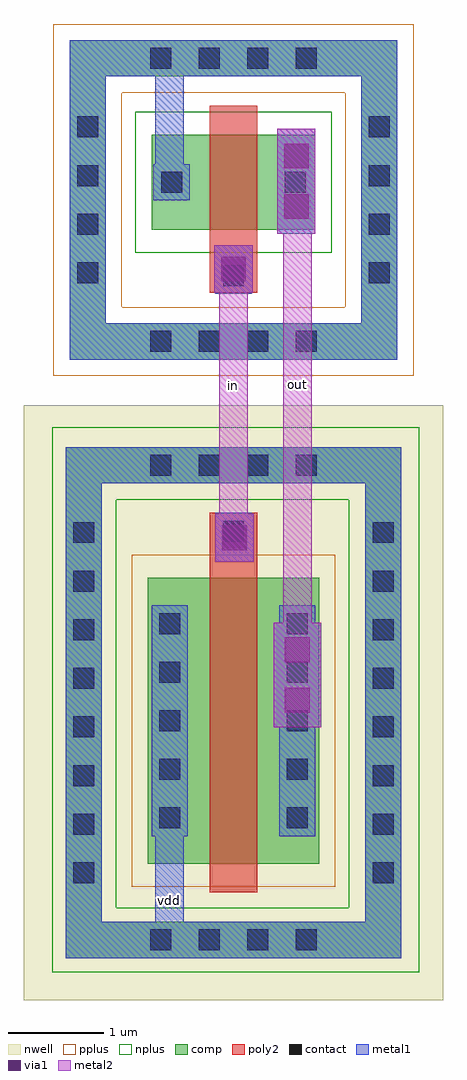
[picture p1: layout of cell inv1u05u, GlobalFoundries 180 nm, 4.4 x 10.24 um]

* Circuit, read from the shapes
.subckt inv1u05u in out vdd
XM1 out in VSUBS VSUBS nfet_03v3 w=1u l=0.5u
XM2 out in vdd vdd pfet_03v3 w=3u l=0.5u
.ends

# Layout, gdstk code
import gdstk
lib = gdstk.Library(unit=1e-6, precision=5e-09)
def R(c, l, rs):  # rectangles x0, y0, x1, y1
    for r in rs: c.add(gdstk.rectangle(r[:2], r[2:], *l))
def A(c, l, x, y, w, h, nx, ny, dx, dy):  # array of equal rectangles
    R(c, l, [(x+i*dx, y+j*dy, x+i*dx+w, y+j*dy+h) for i in range(nx) for j in range(ny)])
def P(c, l, *ps):  # polygons
    for p in ps: c.add(gdstk.Polygon(p, *l))
nwell = (21, 0)
comp = (22, 0)
poly2 = (30, 0)
pplus = (31, 0)
nplus = (32, 0)
contact = (33, 0)
metal1 = (34, 0)
via1 = (35, 0)
metal2 = (36, 0)

pfet_4 = lib.new_cell('pfet$4')
R(pfet_4, nwell, [(-1.76,-1.81,2.64,4.43)])
R(pfet_4, comp, [(-0.46,0,0,3), (0,0,0.88,3), (0.88,0,1.34,3)])
P(pfet_4, comp, [(-1.32,-1.37),(-1.32,3.61),(-0.94,3.61),(-0.94,-0.99),(1.82,-0.99),(1.82,3.61),(-1.32,3.61),(-1.32,3.99),(2.2,3.99),(2.2,-1.37)])
R(pfet_4, poly2, [(0.19,-0.68,0.69,-0.3), (0.19,-0.3,0.69,3.3)])
R(pfet_4, pplus, [(-0.63,-0.24,1.51,3.24)])
A(pfet_4, contact, -0.435, -1.29, 0.22, 0.22, 4, 2, 0.51, 4.98)
A(pfet_4, contact, -1.24, -0.585, 0.22, 0.22, 1, 8, 0, 0.51)
A(pfet_4, contact, 1.9, -0.585, 0.22, 0.22, 1, 8, 0, 0.51)
A(pfet_4, contact, -0.34, 0.37, 0.22, 0.22, 1, 5, 0, 0.51)
A(pfet_4, contact, 1, 0.37, 0.22, 0.22, 1, 5, 0, 0.51)
R(pfet_4, contact, [(0.33,-0.6,0.55,-0.38)])
R(pfet_4, metal1, [(0.25,-0.68,0.63,-0.3), (-0.42,0.29,-0.04,2.71), (0.92,0.29,1.3,2.71)])

via_dev_12 = lib.new_cell('via_dev$12')
R(via_dev_12, metal1, [(0,0,0.4,0.5)])
R(via_dev_12, via1, [(0.07,0.12,0.33,0.38)])
R(via_dev_12, metal2, [(0,0,0.4,0.5)])

via_dev_13 = lib.new_cell('via_dev$13')
R(via_dev_13, metal1, [(0,0,0.5,1.1)])
R(via_dev_13, via1, [(0.12,0.155,0.38,0.415), (0.12,0.685,0.38,0.945)])
R(via_dev_13, metal2, [(0,0,0.5,1.1)])

via_dev_14 = lib.new_cell('via_dev$14')
R(via_dev_14, metal1, [(0,0,0.4,1.1)])
R(via_dev_14, via1, [(0.07,0.155,0.33,0.415), (0.07,0.685,0.33,0.945)])
R(via_dev_14, metal2, [(0,0,0.4,1.1)])

nfet_4 = lib.new_cell('nfet$4')
R(nfet_4, comp, [(-0.42,0,0,1), (0,0,0.88,1), (0.88,0,1.3,1)])
P(nfet_4, comp, [(-1.28,-0.99),(-1.28,1.98),(-0.9,1.98),(-0.9,-0.61),(1.78,-0.61),(1.78,1.98),(-1.28,1.98),(-1.28,2.36),(2.16,2.36),(2.16,-0.99)])
R(nfet_4, poly2, [(0.19,-0.3,0.69,1.3), (0.19,1.3,0.69,1.66)])
P(nfet_4, pplus, [(-1.45,-1.16),(-1.45,1.81),(-0.73,1.81),(-0.73,-0.44),(1.61,-0.44),(1.61,1.81),(-1.45,1.81),(-1.45,2.53),(2.33,2.53),(2.33,-1.16)])
R(nfet_4, nplus, [(-0.59,-0.24,1.47,1.24)])
A(nfet_4, contact, -0.435, -0.91, 0.22, 0.22, 4, 2, 0.51, 2.97)
A(nfet_4, contact, -1.2, -0.19, 0.22, 0.22, 1, 4, 0, 0.51)
A(nfet_4, contact, 1.86, -0.19, 0.22, 0.22, 1, 4, 0, 0.51)
R(nfet_4, contact, [(-0.32,0.39,-0.1,0.61), (0.98,0.39,1.2,0.61), (0.33,1.37,0.55,1.59)])
R(nfet_4, metal1, [(-0.4,0.31,-0.02,0.69), (0.9,0.31,1.28,0.69), (0.25,1.29,0.63,1.67)])

inv1u05u = lib.new_cell('inv1u05u')
R(inv1u05u, nplus, [(-8.535,-1.095,-7.865,4.625), (-8.535,-1.095,-4.685,-0.415), (-5.425,-1.095,-4.685,4.625), (-8.535,3.865,-4.685,4.625)])
R(inv1u05u, metal1, [(-8.395,-0.945,-7.965,-0.565), (-7.965,-0.945,-5.255,-0.565), (-5.255,-0.945,-4.875,-0.565), (-5.255,-0.945,-4.875,4.415), (-8.395,-0.565,-8.015,4.035), (-8.395,4.035,-4.875,4.415), (-8.355,5.335,-4.915,5.715), (-8.355,5.715,-7.975,8.685), (-5.295,5.715,-4.915,8.685), (-7.975,8.305,-5.295,8.685)])
inv1u05u.add(gdstk.FlexPath([(-7.305,7.305),(-7.305,8.605)], 0.3, ends="flush", simple_path=True, layer=34, datatype=0))  # metal1
inv1u05u.add(gdstk.FlexPath([(-7.305,1.145),(-7.305,-0.865)], 0.3, ends="flush", simple_path=True, layer=34, datatype=0))  # metal1
inv1u05u.add(gdstk.FlexPath([(-6.635,3.645),(-6.635,6.535)], 0.3, ends="flush", simple_path=True, layer=36, datatype=0))  # metal2
inv1u05u.add(gdstk.FlexPath([(-5.965,2.165),(-5.965,7.195)], 0.3, ends="flush", simple_path=True, layer=36, datatype=0))  # metal2
inv1u05u.add(gdstk.Reference(pfet_4, (-7.075,3.045), x_reflection=True))
inv1u05u.add(gdstk.Reference(via_dev_12, (-6.825,3.715), x_reflection=True))
inv1u05u.add(gdstk.Reference(via_dev_13, (-6.215,2.575), x_reflection=True))
inv1u05u.add(gdstk.Reference(via_dev_14, (-6.175,7.755), x_reflection=True))
inv1u05u.add(gdstk.Reference(via_dev_12, (-6.835,6.535), x_reflection=True))
inv1u05u.add(gdstk.Reference(nfet_4, (-7.075,7.695), x_reflection=True))
inv1u05u.add(gdstk.Label('vdd', (-7.305,-0.345), layer=34, texttype=10))
inv1u05u.add(gdstk.Label('out', (-5.965,5.075), layer=36, texttype=10))
inv1u05u.add(gdstk.Label('in', (-6.635,5.065), layer=36, texttype=10))

lib.write_gds('inv1u05u.gds')
